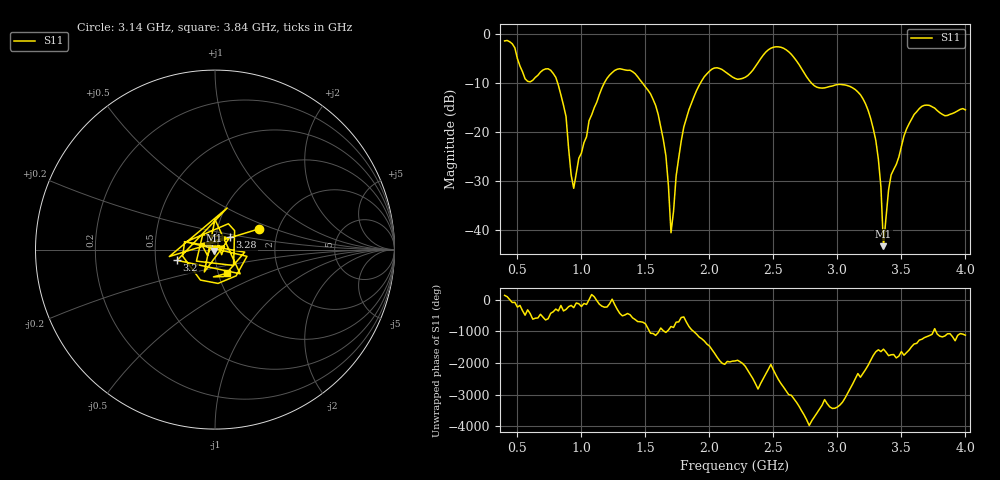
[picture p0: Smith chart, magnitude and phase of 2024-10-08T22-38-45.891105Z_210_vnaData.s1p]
! Created with skrf (http://scikit-rf.org).
# Hz S RI R 50.0
!freq ReS11 ImS11
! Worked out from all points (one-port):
!   181 points, 400 MHz to 4 GHz, reference 50 ohm
!   lowest |S11| = -43.3 dB at 3.36 GHz (marker M1), VSWR 1.01, Z = 49.6 - j0.581 ohm
!   |S11| at or under -10 dB: 815 MHz to 1.178 GHz (362.6 MHz wide, 36.4 % of centre); 1.478 GHz to 1.929 GHz (450.7 MHz wide, 26.4 % of centre); 2.799 GHz to end of sweep
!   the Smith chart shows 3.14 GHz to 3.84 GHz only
!   S11 on the Smith chart (normalised r, x): 3.14 GHz: 1.59, +0.40; 3.2 GHz: 0.65, -0.08; 3.28 GHz: 1.17, +0.16; 3.84 GHz: 1.10, -0.30
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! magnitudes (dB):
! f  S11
! 400 MHz  -1.3
! 580 MHz  -9.6
! 760 MHz  -7.3
! 860 MHz  -14.5
! 940 MHz  -31.5
! 1.06 GHz  -17.6
! 1.3 GHz  -7.0
! 1.58 GHz  -14.5
! 1.66 GHz  -24.8
! 1.7 GHz  -40.6
! 1.76 GHz  -25.3
! 1.84 GHz  -15.4
! 1.96 GHz  -8.7
! 2.2 GHz  -9.0
! 2.5 GHz  -2.6
! 2.66 GHz  -4.7
! 2.84 GHz  -10.8
! 3.1 GHz  -10.7
! 3.14 GHz  -11.3
! 3.2 GHz  -13.2
! 3.28 GHz  -19.3
! 3.34 GHz  -31.2
! 3.36 GHz  -43.3
! 3.42 GHz  -28.7
! 3.56 GHz  -18.3
! 3.68 GHz  -14.5
! 3.84 GHz  -16.6
! 4 GHz  -15.4
